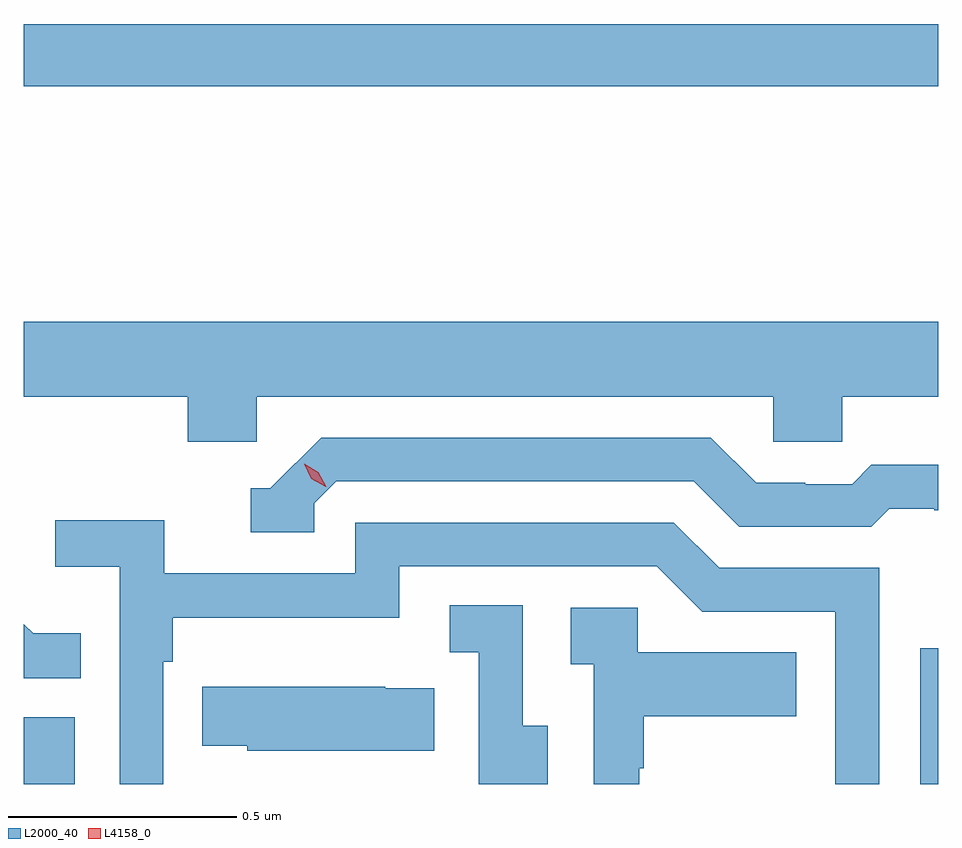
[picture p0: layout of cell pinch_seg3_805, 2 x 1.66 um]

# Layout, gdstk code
import gdstk
lib = gdstk.Library(unit=1e-6, precision=1e-09)
def R(c, l, rs):  # rectangles x0, y0, x1, y1
    for r in rs: c.add(gdstk.rectangle(r[:2], r[2:], *l))
def P(c, l, *ps):  # polygons
    for p in ps: c.add(gdstk.Polygon(p, *l))
L2000_40 = (2000, 40)
L4158_0 = (4158, 0)

pinch_seg3_805 = lib.new_cell('pinch_seg3_805')
R(pinch_seg3_805, L2000_40, [(812.965,713.389,813.076,713.535), (814.926,713.389,814.965,713.686), (812.965,714.916,814.965,715.052)])
P(pinch_seg3_805, L2000_40, [(813.474,714.236),(814.605,714.236),(814.605,714.138),(814.755,714.138),(814.755,714.236),(814.965,714.236),(814.965,714.4),(812.965,714.4),(812.965,714.236),(813.323,714.236),(813.323,714.138),(813.474,714.138)],
  [(813.6,714.003),(813.648,714.051),(814.431,714.051),(814.53,713.952),(814.819,713.952),(814.858,713.991),(814.957,713.991),(814.957,713.988),(814.965,713.988),(814.965,714.088),(814.819,714.088),(814.777,714.045),(814.674,714.045),(814.674,714.048),(814.567,714.048),(814.468,714.147),(813.615,714.147),(813.504,714.036),(813.461,714.036),(813.461,713.94),(813.6,713.94)],
  [(813.27,713.657),(813.29,713.657),(813.29,713.753),(813.786,713.753),(813.786,713.865),(814.35,713.865),(814.449,713.766),(814.74,713.766),(814.74,713.389),(814.836,713.389),(814.836,713.862),(814.486,713.862),(814.387,713.961),(813.69,713.961),(813.69,713.85),(813.272,713.85),(813.272,713.966),(813.033,713.966),(813.033,713.864),(813.174,713.864),(813.174,713.389),(813.27,713.389)],
  [(814.111,713.517),(814.056,713.517),(814.056,713.78),(813.897,713.78),(813.897,713.677),(813.96,713.677),(813.96,713.389),(814.111,713.389)],
  [(814.311,713.423),(814.321,713.423),(814.321,713.537),(814.655,713.537),(814.655,713.677),(814.308,713.677),(814.308,713.775),(814.161,713.775),(814.161,713.651),(814.212,713.651),(814.212,713.389),(814.311,713.389)],
  [(813.089,713.719),(812.985,713.719),(812.965,713.739),(812.965,713.62),(813.089,713.62)],
  [(813.863,713.599),(813.755,713.599),(813.755,713.602),(813.355,713.602),(813.355,713.473),(813.453,713.473),(813.453,713.462),(813.863,713.462)])
P(pinch_seg3_805, L4158_0, [(813.625,714.039),(813.594,714.057),(813.578,714.09),(813.578,714.09),(813.578,714.09),(813.609,714.071),(813.626,714.039),(813.626,714.039)])

lib.write_gds('pinch_seg3_805.gds')
